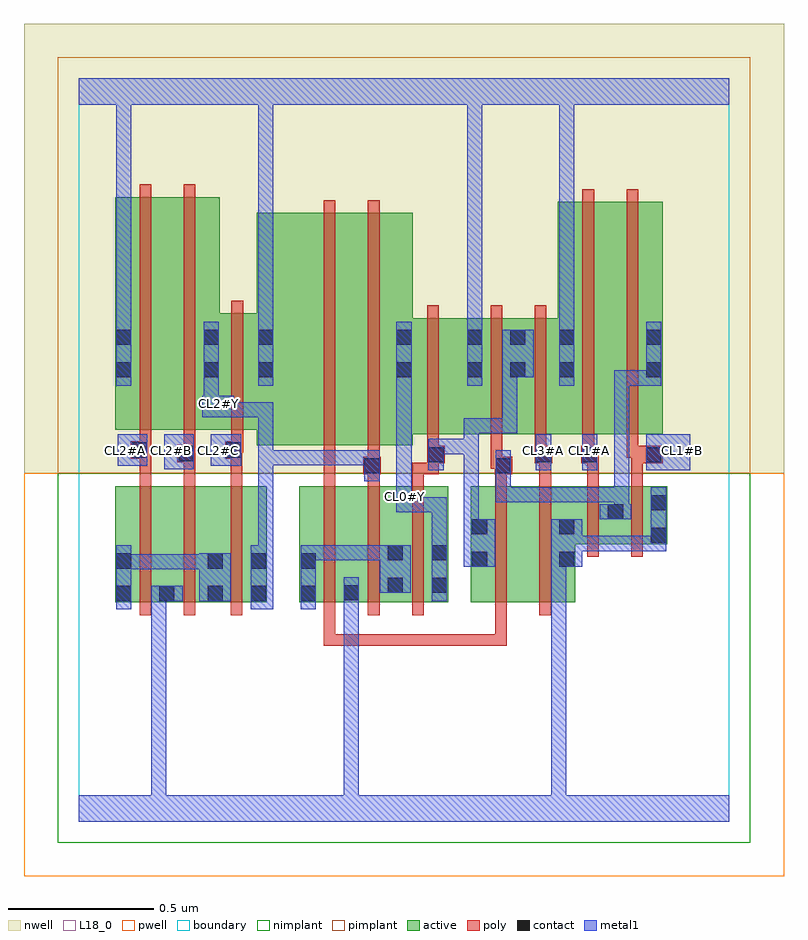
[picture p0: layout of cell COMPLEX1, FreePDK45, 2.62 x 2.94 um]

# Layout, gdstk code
import gdstk
lib = gdstk.Library(unit=1e-6, precision=1e-09)
def R(c, l, rs):  # rectangles x0, y0, x1, y1
    for r in rs: c.add(gdstk.rectangle(r[:2], r[2:], *l))
def A(c, l, x, y, w, h, nx, ny, dx, dy):  # array of equal rectangles
    R(c, l, [(x+i*dx, y+j*dy, x+i*dx+w, y+j*dy+h) for i in range(nx) for j in range(ny)])
active = (1, 0)
pwell = (2, 0)
nwell = (3, 0)
nimplant = (4, 0)
pimplant = (5, 0)
poly = (9, 0)
contact = (10, 0)
metal1 = (11, 0)
L18_0 = (18, 0)
boundary = (235, 0)

complex1 = lib.new_cell('COMPLEX1')
A(complex1, active, 0.908, 0.756, 0.06, 0.4, 3, 1, 0.152, 0)
R(complex1, active, [(0.126,0.756,0.186,1.156), (0.126,0.756,0.334,1.156), (0.274,0.756,0.334,0.928), (0.274,0.756,0.5,1.156), (0.44,0.756,0.648,1.156), (0.44,0.756,0.5,0.928), (0.588,0.756,0.648,1.156), (0.76,0.756,0.82,1.156), (0.76,0.756,0.968,1.156), (0.908,0.756,1.12,1.156), (1.06,0.756,1.272,1.156), (1.35,0.756,1.41,1.156), (1.35,0.756,1.53,1.156), (1.53,0.756,1.71,1.156), (1.65,0.756,1.71,1.156), (1.65,0.956,1.878,1.156), (1.818,0.956,2.026,1.156), (1.818,0.956,1.878,1.098), (1.966,0.956,2.026,1.156), (0.614,1.296,0.94,2.096), (0.94,1.296,1.15,2.096), (1.09,1.334,1.394,1.734), (1.09,1.334,1.15,2.096), (1.334,1.334,1.542,1.734), (1.482,1.334,1.71,1.734), (1.65,1.334,1.83,2.134), (1.83,1.334,2.01,2.134), (1.95,1.334,2.01,2.044), (0.126,1.35,0.306,2.15), (0.126,1.35,0.186,2.044), (0.306,1.35,0.486,2.15), (0.426,1.35,0.674,1.75), (0.614,1.35,0.674,1.698), (1.482,1.36,1.542,1.734), (0.426,1.366,0.486,2.15), (1.65,1.434,1.71,1.924), (1.334,1.472,1.394,1.698)])
R(complex1, pwell, [(-0.188,-0.188,2.428,1.2)])
R(complex1, nwell, [(-0.188,1.2,2.428,2.748)])
R(complex1, nimplant, [(-0.072,-0.072,2.312,1.2)])
R(complex1, pimplant, [(-0.072,1.2,2.312,2.632)])
A(complex1, poly, 0.844, 0.712, 0.04, 0.488, 3, 1, 0.152, 0)
A(complex1, poly, 0.844, 1.16, 0.04, 0.076, 3, 1, 0.152, 0)
R(complex1, poly, [(0.844,0.606,0.884,0.646), (0.844,0.606,0.884,0.646), (0.844,0.606,0.884,0.646), (0.844,0.606,0.884,0.752), (0.844,0.606,1.082,0.646), (1.042,0.606,1.082,0.646), (1.042,0.606,1.082,0.646), (1.042,0.606,1.082,0.646), (1.042,0.606,1.352,0.646), (1.312,0.606,1.352,0.646), (1.312,0.606,1.352,0.646), (1.312,0.606,1.352,0.646), (1.312,0.606,1.474,0.646), (1.434,0.606,1.474,0.646), (1.434,0.606,1.474,0.646), (1.434,0.606,1.474,0.646), (1.434,0.606,1.474,0.752), (0.21,0.712,0.25,1.2), (0.362,0.712,0.402,1.2), (0.524,0.712,0.564,1.2), (1.434,0.712,1.474,1.2), (1.586,0.712,1.626,1.2), (1.75,0.912,1.79,1.2), (1.902,0.912,1.942,1.2), (0.21,1.16,0.25,1.29), (0.362,1.16,0.402,1.278), (0.524,1.16,0.564,1.29), (1.434,1.16,1.474,1.236), (1.586,1.16,1.626,1.274), (1.75,1.16,1.79,1.274), (1.902,1.16,1.942,1.274), (0.844,1.196,0.884,1.236), (0.844,1.196,0.884,1.236), (0.844,1.196,0.884,1.236), (0.844,1.196,0.884,1.292), (0.98,1.196,1.04,1.256), (0.996,1.196,1.036,1.236), (0.996,1.196,1.036,1.236), (1.148,1.196,1.24,1.236), (1.2,1.196,1.24,1.274), (1.432,1.196,1.492,1.256), (0.996,1.216,1.036,1.292), (1.418,1.216,1.458,1.33), (1.418,1.216,1.472,1.256), (1.432,1.216,1.472,1.256), (1.2,1.234,1.26,1.294), (1.57,1.234,1.63,1.294), (1.586,1.234,1.626,1.274), (1.586,1.234,1.626,1.274), (1.73,1.234,1.79,1.294), (1.75,1.234,1.79,1.274), (1.75,1.234,1.79,1.274), (1.902,1.234,2.01,1.294), (0.34,1.238,0.402,1.298), (0.18,1.25,0.25,1.31), (0.21,1.25,0.25,1.29), (0.21,1.25,0.25,1.29), (0.504,1.25,0.564,1.31), (0.844,1.252,0.884,2.14), (0.996,1.252,1.036,2.14), (1.2,1.254,1.24,1.33), (1.57,1.254,1.61,1.33), (1.734,1.254,1.774,1.33), (1.886,1.254,1.926,1.33), (1.886,1.254,1.942,1.294), (1.902,1.254,1.942,1.294), (0.362,1.258,0.402,1.298), (0.362,1.258,0.402,1.298), (0.362,1.258,0.402,1.346), (0.21,1.27,0.25,1.346), (0.524,1.27,0.564,1.31), (0.524,1.27,0.566,1.31), (0.526,1.27,0.566,1.346), (1.2,1.29,1.24,1.778), (1.418,1.29,1.458,1.778), (1.57,1.29,1.61,1.778), (1.734,1.29,1.774,2.178), (1.886,1.29,1.926,2.178), (0.21,1.306,0.25,2.194), (0.362,1.306,0.402,2.194), (0.526,1.306,0.566,1.794)])
R(complex1, contact, [(0.13,0.76,0.182,0.812), (0.278,0.76,0.33,0.812), (0.444,0.76,0.496,0.812), (0.592,0.76,0.644,0.812), (0.764,0.76,0.816,0.812), (0.912,0.762,0.964,0.814), (1.064,0.788,1.116,0.84), (1.216,0.788,1.268,0.84), (0.13,0.872,0.182,0.924), (0.444,0.872,0.496,0.924), (0.592,0.872,0.644,0.924), (0.764,0.872,0.816,0.924), (1.354,0.878,1.406,0.93), (1.654,0.878,1.706,0.93), (1.064,0.9,1.116,0.952), (1.216,0.9,1.268,0.952), (1.97,0.96,2.022,1.012), (1.354,0.99,1.406,1.042), (1.654,0.99,1.706,1.042), (1.822,1.042,1.874,1.094), (1.97,1.072,2.022,1.124), (0.984,1.2,1.036,1.252), (1.436,1.2,1.488,1.252), (1.204,1.238,1.256,1.29), (1.574,1.238,1.626,1.29), (1.734,1.238,1.786,1.29), (1.954,1.238,2.006,1.29), (0.344,1.242,0.396,1.294), (0.184,1.254,0.236,1.306), (0.508,1.254,0.56,1.306), (0.13,1.53,0.182,1.582), (0.43,1.53,0.482,1.582), (0.618,1.53,0.67,1.582), (1.094,1.53,1.146,1.582), (1.338,1.53,1.39,1.582), (1.486,1.53,1.538,1.582), (1.654,1.53,1.706,1.582), (1.954,1.53,2.006,1.582), (0.13,1.642,0.182,1.694), (0.43,1.642,0.482,1.694), (0.618,1.642,0.67,1.694), (1.094,1.642,1.146,1.694), (1.338,1.642,1.39,1.694), (1.486,1.642,1.538,1.694), (1.654,1.642,1.706,1.694), (1.954,1.642,2.006,1.694)])
R(complex1, metal1, [(0,0,2.24,0.092), (0.25,0.04,0.302,0.092), (0.25,0.04,0.302,0.092), (0.25,0.04,0.302,0.092), (0.25,0.04,0.302,0.092), (0.25,0.04,0.302,0.092), (0.25,0.04,0.302,0.092), (0.25,0.04,0.302,0.092), (0.25,0.04,0.302,0.092), (0.25,0.04,0.302,0.092), (0.25,0.04,0.302,0.092), (0.25,0.04,0.302,0.812), (0.912,0.04,0.964,0.092), (0.912,0.04,0.964,0.092), (0.912,0.04,0.964,0.092), (0.912,0.04,0.964,0.092), (0.912,0.04,0.964,0.092), (0.912,0.04,0.964,0.092), (0.912,0.04,0.964,0.092), (0.912,0.04,0.964,0.092), (0.912,0.04,0.964,0.092), (0.912,0.04,0.964,0.092), (0.912,0.04,0.964,0.786), (1.626,0.04,1.678,0.092), (1.626,0.04,1.678,0.092), (1.626,0.04,1.678,0.092), (1.626,0.04,1.678,0.092), (1.626,0.04,1.678,0.092), (1.626,0.04,1.678,0.092), (1.626,0.04,1.678,0.93), (0.13,0.732,0.182,0.952), (0.592,0.732,0.67,0.952), (0.764,0.732,0.816,0.952), (0.912,0.734,0.964,0.786), (0.912,0.734,0.964,0.786), (0.912,0.734,0.964,0.842), (0.25,0.76,0.302,0.812), (0.25,0.76,0.302,0.812), (0.25,0.76,0.358,0.812), (0.416,0.76,0.524,0.924), (1.216,0.76,1.268,0.98), (1.036,0.788,1.144,0.952), (0.13,0.87,0.182,0.922), (0.13,0.87,0.182,0.922), (0.13,0.87,0.358,0.922), (0.306,0.87,0.358,0.922), (0.306,0.87,0.358,0.922), (0.306,0.87,0.358,0.922), (0.306,0.87,0.468,0.922), (1.326,0.878,1.434,1.042), (1.626,0.878,1.678,0.93), (1.626,0.878,1.678,0.93), (1.626,0.878,1.678,0.93), (1.626,0.878,1.678,0.93), (1.626,0.878,1.678,0.93), (1.626,0.878,1.678,0.93), (1.626,0.878,1.734,1.042), (0.618,0.9,0.67,1.28), (0.764,0.9,0.816,0.952), (0.764,0.9,0.816,0.952), (0.764,0.9,0.978,0.952), (0.926,0.9,0.978,0.952), (0.926,0.9,1.088,0.952), (1.036,0.9,1.088,0.952), (1.036,0.9,1.088,0.952), (1.216,0.928,1.268,1.118), (1.682,0.932,1.734,0.984), (1.682,0.932,1.734,0.984), (1.682,0.932,1.844,0.984), (1.792,0.932,1.844,0.984), (1.792,0.932,1.844,0.984), (1.792,0.932,1.844,0.984), (1.792,0.932,1.844,0.984), (1.792,0.932,1.844,0.984), (1.792,0.932,2.022,0.984), (1.97,0.932,2.022,0.984), (1.97,0.932,2.022,0.984), (1.97,0.932,2.022,1.152), (1.326,0.99,1.378,1.042), (1.326,0.99,1.378,1.042), (1.326,0.99,1.378,1.318), (1.794,1.042,1.902,1.094), (1.844,1.042,1.896,1.152), (1.094,1.066,1.146,1.174), (1.094,1.066,1.268,1.118), (1.216,1.066,1.268,1.118), (1.216,1.066,1.268,1.118), (1.216,1.066,1.268,1.118), (1.436,1.1,1.488,1.224), (1.436,1.1,1.62,1.152), (1.568,1.1,1.62,1.152), (1.568,1.1,1.706,1.152), (1.654,1.1,1.706,1.152), (1.654,1.1,1.896,1.152), (1.844,1.1,1.896,1.152), (1.844,1.1,1.896,1.152), (1.844,1.1,1.896,1.152), (1.844,1.1,1.896,1.554), (1.094,1.122,1.146,1.174), (1.094,1.122,1.146,1.174), (1.094,1.122,1.146,1.554), (0.984,1.172,1.036,1.28), (1.436,1.172,1.488,1.224), (1.436,1.172,1.488,1.28), (1.204,1.21,1.256,1.318), (1.574,1.21,1.626,1.334), (1.734,1.21,1.786,1.334), (1.954,1.21,2.106,1.334), (0.294,1.214,0.396,1.334), (0.134,1.226,0.236,1.334), (0.454,1.226,0.56,1.334), (0.618,1.228,0.67,1.28), (0.618,1.228,0.67,1.28), (0.618,1.228,0.67,1.28), (0.618,1.228,0.67,1.28), (0.618,1.228,0.926,1.28), (0.618,1.228,0.67,1.444), (0.874,1.228,0.926,1.28), (0.874,1.228,0.926,1.28), (0.874,1.228,0.926,1.28), (0.874,1.228,1.036,1.28), (1.204,1.266,1.378,1.318), (1.326,1.266,1.378,1.318), (1.326,1.266,1.378,1.318), (1.326,1.266,1.378,1.39), (1.326,1.338,1.51,1.39), (1.458,1.338,1.51,1.39), (1.458,1.338,1.51,1.39), (1.458,1.338,1.51,1.39), (1.458,1.338,1.51,1.582), (0.426,1.392,0.534,1.466), (0.482,1.392,0.534,1.444), (0.482,1.392,0.534,1.444), (0.482,1.392,0.67,1.444), (0.43,1.414,0.482,1.554), (0.13,1.502,0.182,1.722), (0.43,1.502,0.482,1.722), (0.618,1.502,0.67,1.722), (1.094,1.502,1.146,1.722), (1.338,1.502,1.39,1.722), (1.654,1.502,1.706,1.722), (1.844,1.502,1.896,1.554), (1.844,1.502,2.006,1.554), (1.954,1.502,2.006,1.554), (1.954,1.502,2.006,1.554), (1.954,1.502,2.006,1.554), (1.954,1.502,2.006,1.554), (1.954,1.502,2.006,1.722), (1.458,1.53,1.566,1.694), (0.13,1.67,0.182,1.722), (0.13,1.67,0.182,1.722), (0.13,1.67,0.182,1.722), (0.13,1.67,0.182,1.722), (0.13,1.67,0.182,2.52), (0.618,1.67,0.67,1.722), (0.618,1.67,0.67,1.722), (0.618,1.67,0.67,2.52), (1.338,1.67,1.39,1.722), (1.338,1.67,1.39,1.722), (1.338,1.67,1.39,1.722), (1.338,1.67,1.39,1.722), (1.338,1.67,1.39,1.832), (1.654,1.67,1.706,2.52), (1.338,1.78,1.39,1.832), (1.338,1.78,1.39,2.52), (0,2.468,2.24,2.56), (0.13,2.468,0.182,2.52), (0.13,2.468,0.182,2.52), (0.13,2.468,0.182,2.52), (0.13,2.468,0.182,2.52), (0.618,2.468,0.67,2.52), (0.618,2.468,0.67,2.52), (0.618,2.468,0.67,2.52), (0.618,2.468,0.67,2.52), (0.618,2.468,0.67,2.52), (0.618,2.468,0.67,2.52), (1.338,2.468,1.39,2.52), (1.338,2.468,1.39,2.52), (1.338,2.468,1.39,2.52), (1.338,2.468,1.39,2.52), (1.338,2.468,1.39,2.52), (1.338,2.468,1.39,2.52), (1.338,2.468,1.39,2.52), (1.338,2.468,1.39,2.52), (1.338,2.468,1.39,2.52), (1.338,2.468,1.39,2.52), (1.654,2.468,1.706,2.52), (1.654,2.468,1.706,2.52), (1.654,2.468,1.706,2.52), (1.654,2.468,1.706,2.52), (1.654,2.468,1.706,2.52), (1.654,2.468,1.706,2.52), (1.654,2.468,1.706,2.52), (1.654,2.468,1.706,2.52)])
A(complex1, L18_0, 0.134, 1.254, 0.052, 0.052, 3, 1, 0.16, 0)
R(complex1, L18_0, [(0,0,2.24,0.092), (0.25,0.04,0.302,0.092), (0.25,0.04,0.302,0.092), (0.25,0.04,0.302,0.092), (0.25,0.04,0.302,0.092), (0.25,0.04,0.302,0.092), (0.25,0.04,0.302,0.092), (0.25,0.04,0.302,0.092), (0.25,0.04,0.302,0.092), (0.25,0.04,0.302,0.092), (0.25,0.04,0.302,0.092), (0.25,0.04,0.302,0.812), (0.912,0.04,0.964,0.092), (0.912,0.04,0.964,0.092), (0.912,0.04,0.964,0.092), (0.912,0.04,0.964,0.092), (0.912,0.04,0.964,0.092), (0.912,0.04,0.964,0.092), (0.912,0.04,0.964,0.092), (0.912,0.04,0.964,0.092), (0.912,0.04,0.964,0.092), (0.912,0.04,0.964,0.092), (0.912,0.04,0.964,0.786), (1.626,0.04,1.678,0.092), (1.626,0.04,1.678,0.092), (1.626,0.04,1.678,0.092), (1.626,0.04,1.678,0.092), (1.626,0.04,1.678,0.092), (1.626,0.04,1.678,0.092), (1.626,0.04,1.678,0.93), (0.592,0.732,0.67,0.952), (0.912,0.734,0.964,0.786), (0.912,0.734,0.964,0.786), (0.912,0.734,0.964,0.842), (0.25,0.76,0.302,0.812), (0.25,0.76,0.302,0.812), (0.25,0.76,0.358,0.812), (1.216,0.76,1.268,0.98), (1.626,0.878,1.678,0.93), (1.626,0.878,1.678,0.93), (1.626,0.878,1.678,0.93), (1.626,0.878,1.678,0.93), (1.626,0.878,1.678,0.93), (1.626,0.878,1.678,0.93), (1.626,0.878,1.734,1.042), (0.618,0.9,0.67,1.28), (1.216,0.928,1.268,1.118), (1.682,0.932,1.734,0.984), (1.682,0.932,1.734,0.984), (1.682,0.932,1.844,0.984), (1.792,0.932,1.844,0.984), (1.792,0.932,1.844,0.984), (1.792,0.932,1.844,0.984), (1.792,0.932,1.844,0.984), (1.792,0.932,1.844,0.984), (1.792,0.932,2.022,0.984), (1.97,0.932,2.022,1.152), (1.97,0.932,2.022,0.984), (1.97,0.932,2.022,0.984), (1.094,1.066,1.146,1.174), (1.094,1.066,1.268,1.118), (1.216,1.066,1.268,1.118), (1.216,1.066,1.268,1.118), (1.216,1.066,1.268,1.118), (1.094,1.094,1.146,1.146), (1.094,1.122,1.146,1.174), (1.094,1.122,1.146,1.174), (1.094,1.122,1.146,1.554), (0.984,1.172,1.036,1.28), (1.574,1.21,1.626,1.334), (1.734,1.21,1.786,1.334), (1.954,1.21,2.106,1.334), (0.294,1.214,0.396,1.334), (0.134,1.226,0.236,1.334), (0.454,1.226,0.56,1.334), (0.618,1.228,0.67,1.28), (0.618,1.228,0.67,1.28), (0.618,1.228,0.67,1.28), (0.618,1.228,0.67,1.28), (0.618,1.228,0.67,1.444), (0.618,1.228,0.926,1.28), (0.874,1.228,0.926,1.28), (0.874,1.228,0.926,1.28), (0.874,1.228,0.926,1.28), (0.874,1.228,1.036,1.28), (1.574,1.254,1.626,1.306), (1.734,1.254,1.786,1.306), (2.054,1.254,2.106,1.306), (0.426,1.392,0.534,1.466), (0.482,1.392,0.534,1.444), (0.482,1.392,0.534,1.444), (0.482,1.392,0.67,1.444), (0.43,1.414,0.482,1.554), (0.454,1.414,0.506,1.466), (0.13,1.502,0.182,1.722), (0.43,1.502,0.482,1.722), (0.618,1.502,0.67,1.722), (1.094,1.502,1.146,1.722), (1.338,1.502,1.39,1.722), (1.654,1.502,1.706,1.722), (0.13,1.67,0.182,1.722), (0.13,1.67,0.182,1.722), (0.13,1.67,0.182,1.722), (0.13,1.67,0.182,1.722), (0.13,1.67,0.182,2.52), (0.618,1.67,0.67,1.722), (0.618,1.67,0.67,1.722), (0.618,1.67,0.67,2.52), (1.338,1.67,1.39,1.722), (1.338,1.67,1.39,1.722), (1.338,1.67,1.39,1.722), (1.338,1.67,1.39,1.722), (1.338,1.67,1.39,1.832), (1.654,1.67,1.706,2.52), (1.338,1.78,1.39,1.832), (1.338,1.78,1.39,2.52), (0,2.468,2.24,2.56), (0.13,2.468,0.182,2.52), (0.13,2.468,0.182,2.52), (0.13,2.468,0.182,2.52), (0.13,2.468,0.182,2.52), (0.618,2.468,0.67,2.52), (0.618,2.468,0.67,2.52), (0.618,2.468,0.67,2.52), (0.618,2.468,0.67,2.52), (0.618,2.468,0.67,2.52), (0.618,2.468,0.67,2.52), (1.338,2.468,1.39,2.52), (1.338,2.468,1.39,2.52), (1.338,2.468,1.39,2.52), (1.338,2.468,1.39,2.52), (1.338,2.468,1.39,2.52), (1.338,2.468,1.39,2.52), (1.338,2.468,1.39,2.52), (1.338,2.468,1.39,2.52), (1.338,2.468,1.39,2.52), (1.338,2.468,1.39,2.52), (1.654,2.468,1.706,2.52), (1.654,2.468,1.706,2.52), (1.654,2.468,1.706,2.52), (1.654,2.468,1.706,2.52), (1.654,2.468,1.706,2.52), (1.654,2.468,1.706,2.52), (1.654,2.468,1.706,2.52), (1.654,2.468,1.706,2.52)])
R(complex1, boundary, [(0,0,2.24,2.56)])
complex1.add(gdstk.Label('CL0#Y', (1.12,1.12), layer=11, texttype=0))
complex1.add(gdstk.Label('CL1#A', (1.76,1.28), layer=11, texttype=0))
complex1.add(gdstk.Label('CL1#B', (2.08,1.28), layer=11, texttype=0))
complex1.add(gdstk.Label('CL2#A', (0.16,1.28), layer=11, texttype=0))
complex1.add(gdstk.Label('CL2#B', (0.32,1.28), layer=11, texttype=0))
complex1.add(gdstk.Label('CL2#C', (0.48,1.28), layer=11, texttype=0))
complex1.add(gdstk.Label('CL2#Y', (0.48,1.44), layer=11, texttype=0))
complex1.add(gdstk.Label('CL3#A', (1.6,1.28), layer=11, texttype=0))

lib.write_gds('COMPLEX1.gds')
